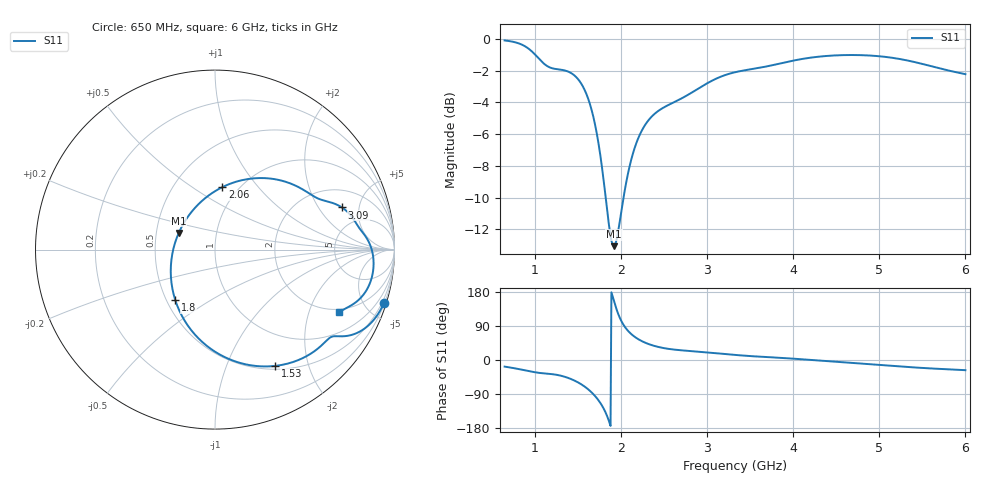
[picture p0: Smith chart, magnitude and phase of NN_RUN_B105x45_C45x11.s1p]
! IGNION VIRTUAL ANTENNA LIBRARY
! NN_RUN_B105x45_C45x11
! Virtual Antenna™ RUN mXTEND™: NN02-224 12.0 mm x 3.0 mm x 2.4 mm
! https://ignion.io/product/run-mxtend/
! Board: 105 mm x 45 mm
! Clearance Area: 45 mm x 11 mm
! Feeding line: L-shape; 11mm x 2mm and 5mm x 2mm
! Applications: Fleet management, IoT
! Frequency range 0.65GHz to 6GHz, step 10MHz
! Number of ports 1
! This product and its use is protected by at least one or more of the following patents and patent
! applications US 8,203,492 B2; US 8,237,615 B2; PCT/EP2013/064692; WO 2014/012842 A1; US 2019/190122 A1;
! US 62/072,671; and other domestic and international patents pending. Additional information about
! patents related to this product is available at https://ignion.io/files/Patent-list-NN.pdf, all
! rights reserved. Copyright, Ignion 2021.
! Need more help? Your platform is much different than these examples in the manual? Use our
! Fast Track service (https://ignion.io/fast-track/), for free, and get a personalized antenna design in
! just 24 hours.
! Touchstone port 1 = "Series Port"
! IE3D S-Parameters Output Version 2.0
# GHZ S MA R 50
! Nport = 1
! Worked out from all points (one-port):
!   536 points, 650 MHz to 6 GHz, reference 50 ohm
!   lowest |S11| = -13.1 dB at 1.92 GHz (marker M1), VSWR 1.57, Z = 32.7 + j6.34 ohm
!   |S11| at or under -10 dB: 1.824 GHz to 2.031 GHz (207.3 MHz wide, 10.8 % of centre)
!   S11 on the Smith chart (normalised r, x): 650 MHz: 0.27, -6.51; 1.53 GHz: 0.54, -1.50; 1.8 GHz: 0.56, -0.36; 2.06 GHz: 0.84, +0.67; 3.09 GHz: 3.16, +3.33; 6 GHz: 1.84, -3.20
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0.65  0.9877 -17.4
0.81  0.9679 -23.7
0.96  0.9156 -30.6
1.1  0.838 -35.2
1.21  0.8064 -37.6
1.32  0.7977 -42.4
1.43  0.7773 -51.1
1.53  0.7291 -62.7
1.6  0.6697 -73.7
1.67  0.583 -87.8
1.73  0.4863 -103.3
1.8  0.358 -128.2
1.84  0.2895 -148.0
1.88  0.2395 -173.9
1.92  0.2223 155.5
1.95  0.2332 133.6
1.99  0.269 110.1
2.06  0.3507 83.2
2.17  0.4615 59.6
2.32  0.5537 42.2
2.46  0.5991 33.1
2.66  0.6397 26.5
3.09  0.7451 18.4
3.33  0.785 13.3
4  0.8532 3.5
4.67  0.8888 -7.5
5.34  0.8528 -18.7
6  0.7736 -26.8
